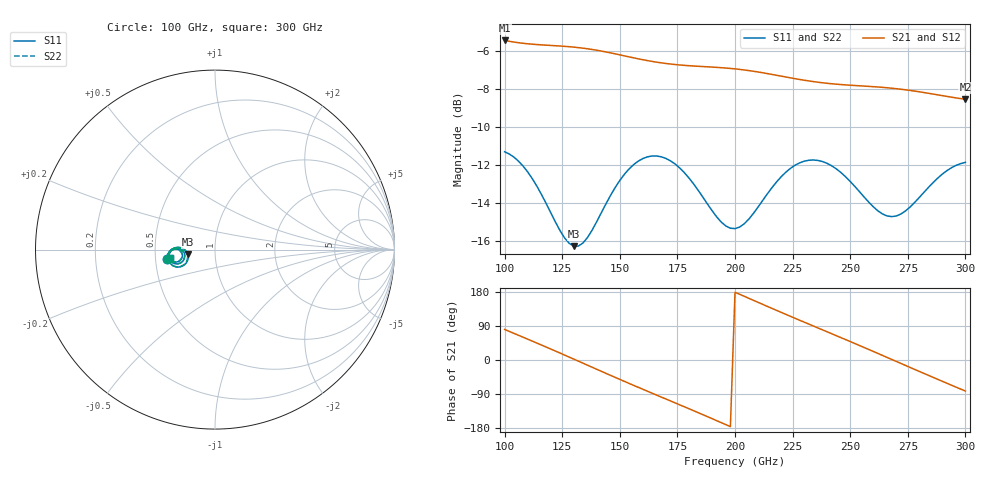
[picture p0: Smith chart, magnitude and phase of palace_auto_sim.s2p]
#  GHZ S DB R 50
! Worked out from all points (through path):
!   101 points, 100 GHz to 300 GHz, reference 50 ohm
!   highest |S21| = -5.42 dB at 100 GHz (marker M1); lowest = -8.5 dB at 300 GHz (marker M2)
!   group delay of S21, straight-line fit = 7.26 ps
!   lowest |S11| = -16.2 dB at 130 GHz (marker M3), VSWR 1.36, Z = 36.8 - j1.96 ohm
!   |S11| at or under -10 dB: start of sweep to end of sweep
!   |S22| runs from -16.0 to -11.2 dB; largest |S21 - S12| = 5.9e-14
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100  -11.28 -169.0  -5.42 80.6  -5.42 80.6  -11.23 -168.6
108  -12.03 -178.3  -5.57 60.2  -5.57 60.2  -11.96 -177.7
116  -13.53 176.6  -5.65 39.5  -5.65 39.5  -13.42 177.2
130  -16.25 -170.3  -5.77 2.4  -5.77 2.4  -16.05 -170.2
134  -16.08 -162.5  -5.83 -8.4  -5.83 -8.4  -15.90 -162.8
142  -14.48 -153.6  -5.98 -29.9  -5.98 -29.9  -14.37 -154.1
152  -12.46 -156.3  -6.23 -56.4  -6.23 -56.4  -12.40 -156.7
160  -11.64 -163.5  -6.43 -77.3  -6.43 -77.3  -11.59 -163.8
168  -11.54 -171.7  -6.60 -97.8  -6.60 -97.8  -11.50 -171.9
176  -12.13 -178.8  -6.71 -118.3  -6.71 -118.3  -12.09 -178.8
186  -13.66 177.6  -6.79 -144.2  -6.79 -144.2  -13.61 177.6
200  -15.32 -169.7  -6.92 178.8  -6.92 178.8  -15.25 -169.8
208  -14.52 -160.7  -7.04 157.5  -7.04 157.5  -14.46 -160.9
218  -12.87 -159.5  -7.25 131.1  -7.25 131.1  -12.83 -159.6
226  -11.99 -164.2  -7.43 110.3  -7.43 110.3  -11.95 -164.2
234  -11.71 -170.6  -7.59 89.7  -7.59 89.7  -11.67 -170.6
244  -12.18 -177.9  -7.72 64.1  -7.72 64.1  -12.14 -177.9
254  -13.38 179.2  -7.81 38.3  -7.81 38.3  -13.32 179.3
268  -14.69 -171.5  -7.93 1.5  -7.93 1.5  -14.62 -171.5
276  -14.19 -164.2  -8.05 -19.6  -8.05 -19.6  -14.12 -164.4
286  -12.90 -162.2  -8.24 -45.8  -8.24 -45.8  -12.86 -162.4
300  -11.84 -169.3  -8.52 -82.0  -8.52 -82.0  -11.81 -169.4
